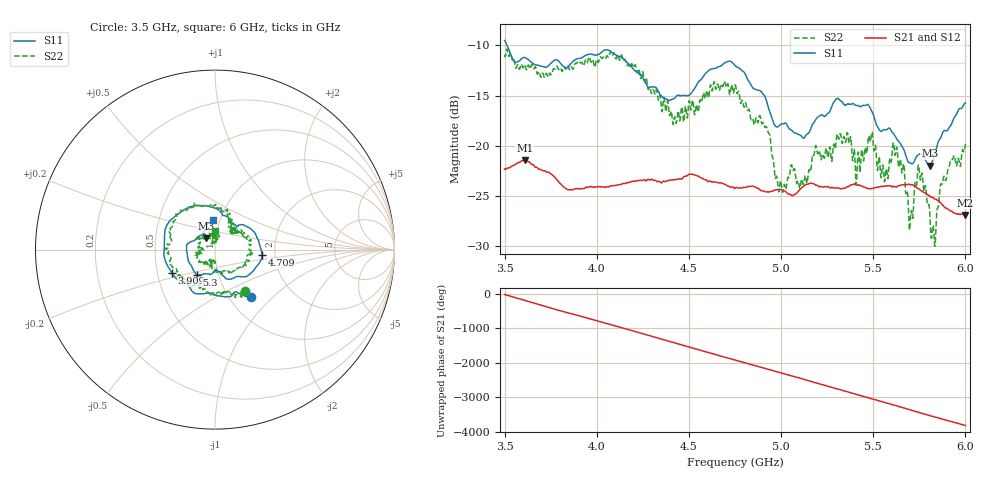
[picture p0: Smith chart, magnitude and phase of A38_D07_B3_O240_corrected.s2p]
! Created with skrf 1.9.0 (http://scikit-rf.org).
# Hz S RI R 50.0
!freq ReS11 ImS11 ReS21 ImS21 ReS12 ImS12 ReS22 ImS22
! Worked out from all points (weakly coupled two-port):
!   1601 points, 3.5 GHz to 6 GHz, reference 50 ohm
!   highest |S21| = -21.44 dB at 3.609 GHz (marker M1); lowest = -26.9 dB at 5.998 GHz (marker M2)
!   lowest |S11| = -22.0 dB at 5.806 GHz (marker M3), VSWR 1.17, Z = 45 + j5.71 ohm
!   |S11| at or under -10 dB: 3.513 GHz to end of sweep
!   |S22| runs from -30.0 to -10.4 dB; largest |S21 - S12| = 0.00094
!   S11 on the Smith chart (normalised r, x): 3.5 GHz: 1.26, -0.75; 3.909 GHz: 0.60, -0.17; 4.709 GHz: 1.70, -0.11; 5.3 GHz: 0.79, -0.23; 6 GHz: 0.93, +0.31
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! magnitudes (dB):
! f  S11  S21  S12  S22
! 3.5 GHz  -9.5  -22.3  -22.3  -11.0
! 3.609 GHz  -11.2  -21.4  -21.4  -11.9
! 3.909 GHz  -11.3  -24.3  -24.2  -11.7
! 3.917 GHz  -11.2  -24.3  -24.3  -11.7
! 4.084 GHz  -10.8  -24.0  -23.9  -11.0
! 4.334 GHz  -14.6  -23.5  -23.5  -15.5
! 4.422 GHz  -15.3  -23.4  -23.4  -17.2
! 4.709 GHz  -11.6  -24.0  -23.9  -13.9
! 4.75 GHz  -12.0  -24.2  -24.2  -14.0
! 4.928 GHz  -16.0  -24.6  -24.6  -18.6
! 4.997 GHz  -17.9  -24.3  -24.3  -23.5
! 5.167 GHz  -18.0  -23.8  -23.7  -21.4
! 5.3 GHz  -15.3  -24.2  -24.1  -19.3
! 5.584 GHz  -18.2  -24.0  -24.0  -22.3
! 5.619 GHz  -19.0  -24.1  -24.1  -21.0
! 5.705 GHz  -21.8  -23.9  -23.9  -26.6
! 5.755 GHz  -20.8  -24.4  -24.4  -23.3
! 5.806 GHz  -22.0  -25.0  -25.0  -26.6
! 5.827 GHz  -21.3  -25.2  -25.2  -28.1
! 5.873 GHz  -18.9  -25.9  -25.8  -23.8
! 5.998 GHz  -15.8  -26.9  -26.8  -20.0
! 6 GHz  -15.7  -26.9  -26.8  -19.8
